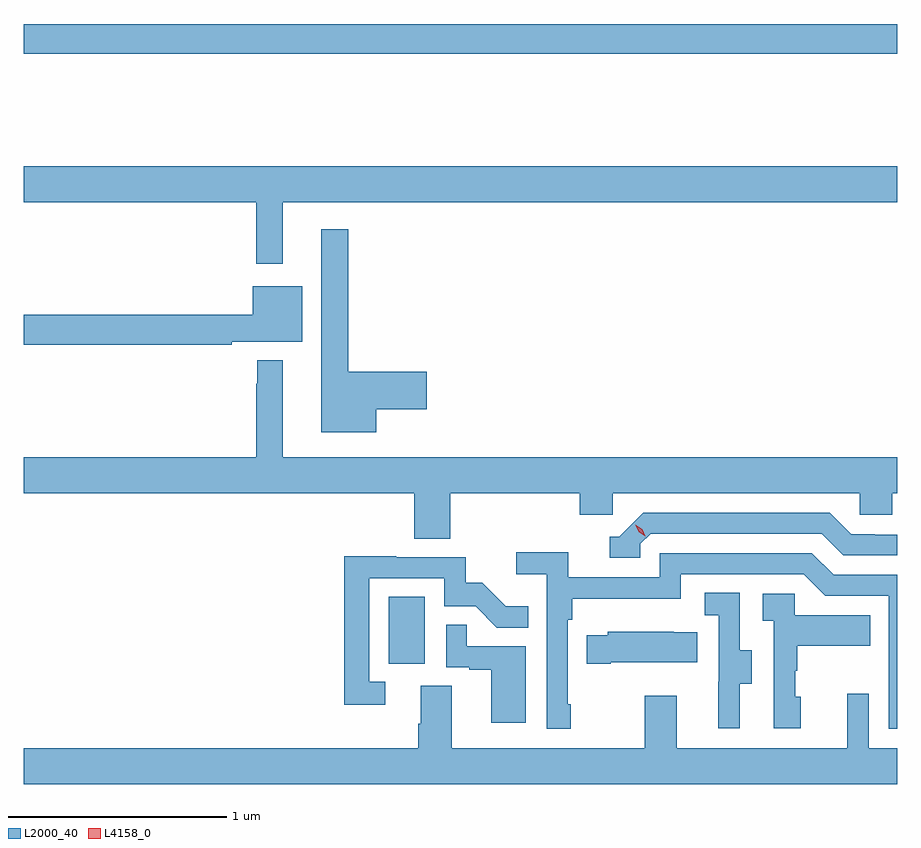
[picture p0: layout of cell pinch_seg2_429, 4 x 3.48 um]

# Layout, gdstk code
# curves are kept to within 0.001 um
import gdstk
lib = gdstk.Library(unit=1e-6, precision=1e-09)
def R(c, l, rs):  # rectangles x0, y0, x1, y1
    for r in rs: c.add(gdstk.rectangle(r[:2], r[2:], *l))
def P(c, l, *ps):  # polygons
    for p in ps: c.add(gdstk.Polygon(p, *l))
L2000_40 = (2000, 40)
L4158_0 = (4158, 0)

pinch_seg2_429 = lib.new_cell('pinch_seg2_429')
R(pinch_seg2_429, L2000_40, [(902.804,622.878,902.968,623.185), (901.132,625.672,905.132,625.808)])
P(pinch_seg2_429, L2000_40, [(902.317,624.992),(905.132,624.992),(905.132,625.156),(901.132,625.156),(901.132,624.992),(902.196,624.992),(902.196,624.711),(902.317,624.711)],
  [(902.746,624.044),(902.977,624.044),(902.977,624.215),(902.617,624.215),(902.617,624.868),(902.495,624.868),(902.495,623.939),(902.746,623.939)],
  [(902.084,624.353),(902.407,624.353),(902.407,624.607),(902.18,624.607),(902.18,624.476),(901.132,624.476),(901.132,624.34),(902.084,624.34)],
  [(902.202,624.268),(902.202,624.161),(902.196,624.161),(902.196,623.824),(901.132,623.824),(901.132,623.66),(902.921,623.66),(902.921,623.452),(903.086,623.452),(903.086,623.66),(903.677,623.66),(903.677,623.562),(903.828,623.562),(903.828,623.66),(904.959,623.66),(904.959,623.562),(905.109,623.562),(905.109,623.66),(905.132,623.66),(905.132,623.824),(902.317,623.824),(902.317,624.268)],
  [(903.954,623.427),(904.002,623.475),(904.785,623.475),(904.884,623.376),(905.132,623.376),(905.132,623.47),(905.028,623.469),(905.028,623.472),(904.921,623.472),(904.822,623.571),(903.969,623.571),(903.858,623.46),(903.815,623.46),(903.815,623.364),(903.954,623.364)],
  [(903.637,622.693),(903.624,622.693),(903.624,623.081),(903.644,623.081),(903.644,623.177),(904.14,623.177),(904.14,623.289),(904.704,623.289),(904.803,623.19),(905.094,623.19),(905.094,622.581),(905.132,622.581),(905.132,623.286),(904.84,623.286),(904.741,623.385),(904.044,623.385),(904.044,623.274),(903.626,623.274),(903.626,623.39),(903.387,623.39),(903.387,623.288),(903.528,623.288),(903.528,622.581),(903.637,622.581)],
  [(902.788,622.797),(902.715,622.797),(902.715,623.271),(903.057,623.271),(903.057,623.142),(903.201,623.142),(903.299,623.044),(903.443,623.044),(903.443,623.143),(903.339,623.143),(903.232,623.25),(903.156,623.25),(903.156,623.367),(902.837,623.367),(902.837,623.372),(902.599,623.372),(902.599,622.692),(902.788,622.692)],
  [(904.411,622.786),(904.465,622.786),(904.465,622.941),(904.41,622.941),(904.41,623.204),(904.251,623.204),(904.251,623.101),(904.314,623.101),(904.314,622.797),(904.313,622.797),(904.313,622.584),(904.411,622.584)],
  [(904.69,622.728),(904.665,622.728),(904.665,622.847),(904.675,622.847),(904.675,622.961),(905.009,622.961),(905.009,623.101),(904.662,623.101),(904.662,623.199),(904.515,623.199),(904.515,623.075),(904.566,623.075),(904.566,622.584),(904.69,622.584)],
  [(903.43,622.959),(903.161,622.959),(903.161,623.057),(903.066,623.057),(903.066,622.863),(903.173,622.863),(903.173,622.851),(903.272,622.851),(903.272,622.608),(903.43,622.608)],
  [(903.82,622.886),(904.217,622.886),(904.217,623.023),(904.109,623.023),(904.109,623.026),(903.807,623.026),(903.807,623.008),(903.709,623.008),(903.709,622.879),(903.82,622.879)],
  [(905.132,622.492),(905.001,622.492),(905.001,622.741),(904.904,622.741),(904.904,622.492),(904.123,622.492),(904.123,622.732),(903.976,622.732),(903.976,622.492),(903.091,622.492),(903.091,622.778),(902.951,622.778),(902.951,622.604),(902.939,622.604),(902.939,622.492),(901.132,622.492),(901.132,622.328),(905.132,622.328)])
P(pinch_seg2_429, L4158_0, [(903.979,623.462),(903.948,623.482),(903.933,623.515),(903.933,623.515),(903.933,623.515),(903.964,623.495),(903.979,623.462),(903.979,623.462)])

lib.write_gds('pinch_seg2_429.gds')
